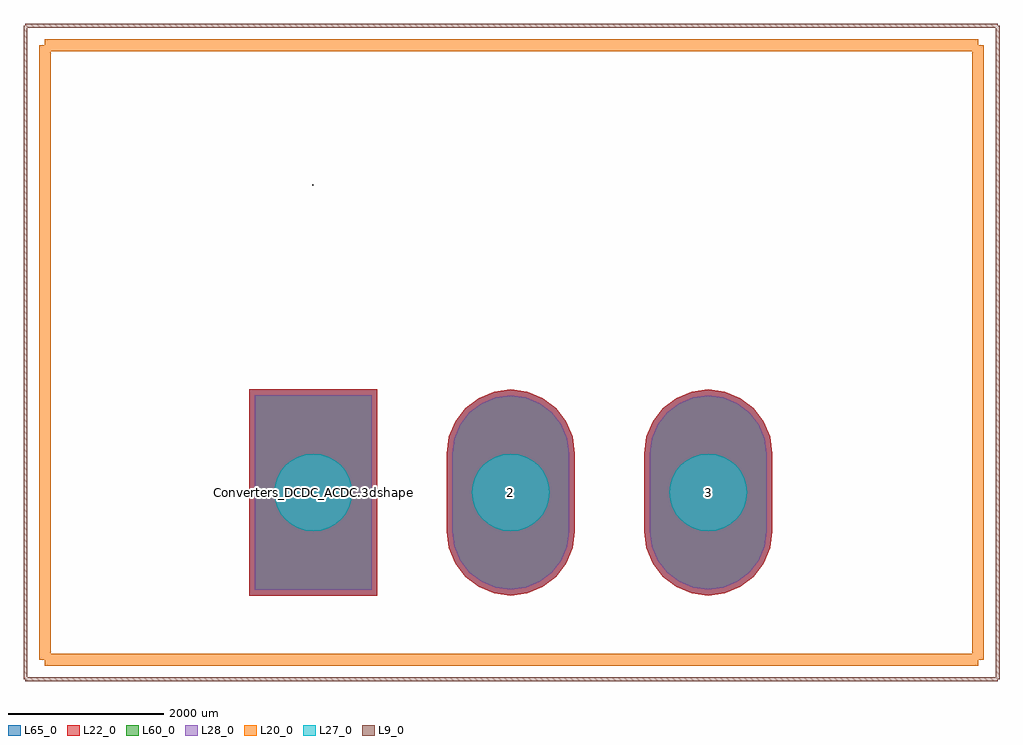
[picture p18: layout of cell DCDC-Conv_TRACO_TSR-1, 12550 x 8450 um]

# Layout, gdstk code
import gdstk
lib = gdstk.Library(unit=1e-6, precision=1e-09)
def R(c, l, rs):  # rectangles x0, y0, x1, y1
    for r in rs: c.add(gdstk.rectangle(r[:2], r[2:], *l))
def P(c, l, *ps):  # polygons
    for p in ps: c.add(gdstk.Polygon(p, *l))
L9_0 = (9, 0)
L20_0 = (20, 0)
L22_0 = (22, 0)
L27_0 = (27, 0)
L28_0 = (28, 0)
L60_0 = (60, 0)
L65_0 = (65, 0)

dcdc_conv_traco_tsr_1 = lib.new_cell('DCDC-Conv_TRACO_TSR-1')
R(dcdc_conv_traco_tsr_1, L22_0, [(-825,-1325,825,1325)])
P(dcdc_conv_traco_tsr_1, L22_0, [(5080,-1325),(5293.526,-1296.889),(5492.5,-1214.471),(5663.363,-1083.363),(5794.471,-912.5),(5876.889,-713.526),(5905,-500),(5905,500),(5876.889,713.526),(5794.471,912.5),(5663.363,1083.363),(5492.5,1214.471),(5293.526,1296.889),(5080,1325),(4866.474,1296.889),(4667.5,1214.471),(4496.637,1083.363),(4365.529,912.5),(4283.111,713.526),(4255,500),(4255,-500),(4283.111,-713.526),(4365.529,-912.5),(4496.637,-1083.363),(4667.5,-1214.471),(4866.474,-1296.889)],
  [(2540,-1325),(2753.526,-1296.889),(2952.5,-1214.471),(3123.363,-1083.363),(3254.471,-912.5),(3336.889,-713.526),(3365,-500),(3365,500),(3336.889,713.526),(3254.471,912.5),(3123.363,1083.363),(2952.5,1214.471),(2753.526,1296.889),(2540,1325),(2326.474,1296.889),(2127.5,1214.471),(1956.637,1083.363),(1825.529,912.5),(1743.111,713.526),(1715,500),(1715,-500),(1743.111,-713.526),(1825.529,-912.5),(1956.637,-1083.363),(2127.5,-1214.471),(2326.474,-1296.889)])
P(dcdc_conv_traco_tsr_1, L27_0, [(5579.999,0),(5570.392,97.545),(5541.939,191.341),(5495.734,277.785),(5433.553,353.553),(5357.785,415.734),(5271.341,461.939),(5177.545,490.392),(5080,499.999),(4982.455,490.392),(4888.659,461.939),(4802.215,415.734),(4726.447,353.553),(4664.266,277.785),(4618.061,191.341),(4589.608,97.545),(4580.001,0),(4589.608,-97.545),(4618.061,-191.341),(4664.266,-277.785),(4726.447,-353.553),(4802.215,-415.734),(4888.659,-461.939),(4982.455,-490.392),(5080,-499.999),(5177.545,-490.392),(5271.341,-461.939),(5357.785,-415.734),(5433.553,-353.553),(5495.734,-277.785),(5541.939,-191.341),(5570.392,-97.545)],
  [(3039.999,0),(3030.392,97.545),(3001.939,191.341),(2955.734,277.785),(2893.553,353.553),(2817.785,415.734),(2731.341,461.939),(2637.545,490.392),(2540,499.999),(2442.455,490.392),(2348.659,461.939),(2262.215,415.734),(2186.447,353.553),(2124.266,277.785),(2078.061,191.341),(2049.608,97.545),(2040.001,0),(2049.608,-97.545),(2078.061,-191.341),(2124.266,-277.785),(2186.447,-353.553),(2262.215,-415.734),(2348.659,-461.939),(2442.455,-490.392),(2540,-499.999),(2637.545,-490.392),(2731.341,-461.939),(2817.785,-415.734),(2893.553,-353.553),(2955.734,-277.785),(3001.939,-191.341),(3030.392,-97.545)],
  [(499.999,0),(490.392,97.545),(461.939,191.341),(415.734,277.785),(353.553,353.553),(277.785,415.734),(191.341,461.939),(97.545,490.392),(0,499.999),(-97.545,490.392),(-191.341,461.939),(-277.785,415.734),(-353.553,353.553),(-415.734,277.785),(-461.939,191.341),(-490.392,97.545),(-499.999,0),(-490.392,-97.545),(-461.939,-191.341),(-415.734,-277.785),(-353.553,-353.553),(-277.785,-415.734),(-191.341,-461.939),(-97.545,-490.392),(0,-499.999),(97.545,-490.392),(191.341,-461.939),(277.785,-415.734),(353.553,-353.553),(415.734,-277.785),(461.939,-191.341),(490.392,-97.545)])
R(dcdc_conv_traco_tsr_1, L28_0, [(-750,-1250,750,1250)])
P(dcdc_conv_traco_tsr_1, L28_0, [(5080,-1250),(5274.114,-1224.444),(5455,-1149.519),(5610.33,-1030.33),(5729.519,-875),(5804.444,-694.114),(5830,-500),(5830,500),(5804.444,694.114),(5729.519,875),(5610.33,1030.33),(5455,1149.519),(5274.114,1224.444),(5080,1250),(4885.886,1224.444),(4705,1149.519),(4549.67,1030.33),(4430.481,875),(4355.556,694.114),(4330,500),(4330,-500),(4355.556,-694.114),(4430.481,-875),(4549.67,-1030.33),(4705,-1149.519),(4885.886,-1224.444)],
  [(2540,-1250),(2734.114,-1224.444),(2915,-1149.519),(3070.33,-1030.33),(3189.519,-875),(3264.444,-694.114),(3290,-500),(3290,500),(3264.444,694.114),(3189.519,875),(3070.33,1030.33),(2915,1149.519),(2734.114,1224.444),(2540,1250),(2345.886,1224.444),(2165,1149.519),(2009.67,1030.33),(1890.481,875),(1815.556,694.114),(1790,500),(1790,-500),(1815.556,-694.114),(1890.481,-875),(2009.67,-1030.33),(2165,-1149.519),(2345.886,-1224.444)])
R(dcdc_conv_traco_tsr_1, L60_0, [(-750,-1250,750,1250)])
P(dcdc_conv_traco_tsr_1, L60_0, [(5080,-1250),(5274.114,-1224.444),(5455,-1149.519),(5610.33,-1030.33),(5729.519,-875),(5804.444,-694.114),(5830,-500),(5830,500),(5804.444,694.114),(5729.519,875),(5610.33,1030.33),(5455,1149.519),(5274.114,1224.444),(5080,1250),(4885.886,1224.444),(4705,1149.519),(4549.67,1030.33),(4430.481,875),(4355.556,694.114),(4330,500),(4330,-500),(4355.556,-694.114),(4430.481,-875),(4549.67,-1030.33),(4705,-1149.519),(4885.886,-1224.444)],
  [(2540,-1250),(2734.114,-1224.444),(2915,-1149.519),(3070.33,-1030.33),(3189.519,-875),(3264.444,-694.114),(3290,-500),(3290,500),(3264.444,694.114),(3189.519,875),(3070.33,1030.33),(2915,1149.519),(2734.114,1224.444),(2540,1250),(2345.886,1224.444),(2165,1149.519),(2009.67,1030.33),(1890.481,875),(1815.556,694.114),(1790,500),(1790,-500),(1815.556,-694.114),(1890.481,-875),(2009.67,-1030.33),(2165,-1149.519),(2345.886,-1224.444)])
R(dcdc_conv_traco_tsr_1, L65_0, [(-825,-1325,825,1325)])
P(dcdc_conv_traco_tsr_1, L65_0, [(5080,-1325),(5293.526,-1296.889),(5492.5,-1214.471),(5663.363,-1083.363),(5794.471,-912.5),(5876.889,-713.526),(5905,-500),(5905,500),(5876.889,713.526),(5794.471,912.5),(5663.363,1083.363),(5492.5,1214.471),(5293.526,1296.889),(5080,1325),(4866.474,1296.889),(4667.5,1214.471),(4496.637,1083.363),(4365.529,912.5),(4283.111,713.526),(4255,500),(4255,-500),(4283.111,-713.526),(4365.529,-912.5),(4496.637,-1083.363),(4667.5,-1214.471),(4866.474,-1296.889)],
  [(2540,-1325),(2753.526,-1296.889),(2952.5,-1214.471),(3123.363,-1083.363),(3254.471,-912.5),(3336.889,-713.526),(3365,-500),(3365,500),(3336.889,713.526),(3254.471,912.5),(3123.363,1083.363),(2952.5,1214.471),(2753.526,1296.889),(2540,1325),(2326.474,1296.889),(2127.5,1214.471),(1956.637,1083.363),(1825.529,912.5),(1743.111,713.526),(1715,500),(1715,-500),(1743.111,-713.526),(1825.529,-912.5),(1956.637,-1083.363),(2127.5,-1214.471),(2326.474,-1296.889)])
dcdc_conv_traco_tsr_1.add(gdstk.FlexPath([(-3450,-2150),(-3450,5750)], 149.998, ends="flush", simple_path=True, layer=20, datatype=0))  # L20_0
dcdc_conv_traco_tsr_1.add(gdstk.FlexPath([(-3450,5750),(8550,5750)], 149.998, ends="flush", simple_path=True, layer=20, datatype=0))  # L20_0
dcdc_conv_traco_tsr_1.add(gdstk.FlexPath([(8550,5750),(8550,-2150)], 149.998, ends="flush", simple_path=True, layer=20, datatype=0))  # L20_0
dcdc_conv_traco_tsr_1.add(gdstk.FlexPath([(8550,-2150),(-3450,-2150)], 149.998, ends="flush", simple_path=True, layer=20, datatype=0))  # L20_0
dcdc_conv_traco_tsr_1.add(gdstk.FlexPath([(-3700,6000),(8800,6000)], 50, ends="flush", simple_path=True, layer=9, datatype=0))  # L9_0
dcdc_conv_traco_tsr_1.add(gdstk.FlexPath([(8800,6000),(8800,-2400)], 50, ends="flush", simple_path=True, layer=9, datatype=0))  # L9_0
dcdc_conv_traco_tsr_1.add(gdstk.FlexPath([(8800,-2400),(-3700,-2400)], 50, ends="flush", simple_path=True, layer=9, datatype=0))  # L9_0
dcdc_conv_traco_tsr_1.add(gdstk.FlexPath([(-3700,-2400),(-3700,6000)], 50, ends="flush", simple_path=True, layer=9, datatype=0))  # L9_0
dcdc_conv_traco_tsr_1.add(gdstk.Label('Converters_DCDC_ACDC.3dshapes/DCDC-Conv_TRACO_TSR-1.wrl', (0,0), layer=12, texttype=0))
dcdc_conv_traco_tsr_1.add(gdstk.Label('3', (5080,0), layer=28, texttype=0))
dcdc_conv_traco_tsr_1.add(gdstk.Label('2', (2540,0), layer=28, texttype=0))
dcdc_conv_traco_tsr_1.add(gdstk.Label('1', (0,0), layer=28, texttype=0))
dcdc_conv_traco_tsr_1.add(gdstk.Label('.', (0,4000), layer=9, texttype=0))
dcdc_conv_traco_tsr_1.add(gdstk.Label('type', (2540,-3810), layer=9, texttype=0))
dcdc_conv_traco_tsr_1.add(gdstk.Label('devicename', (2540,7620), layer=9, texttype=0))

lib.write_gds('DCDC-Conv_TRACO_TSR-1.gds')
